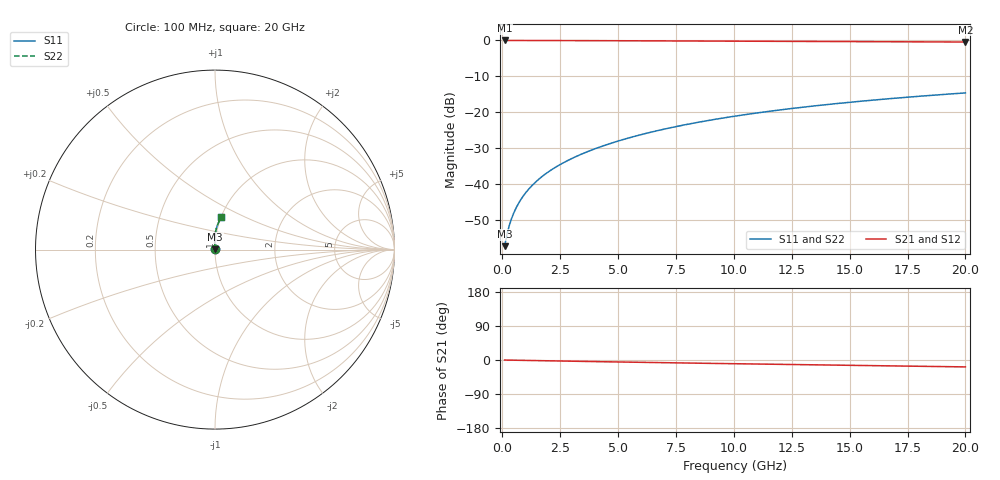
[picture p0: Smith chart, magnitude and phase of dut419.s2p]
! Touchstone file exported from HFSS 2024.1.0
!  File:  C:/UserFiles/LocalFiles/RDL_TSV_Batchsim/temp_RDL_top_419_1779675886.aedt
!  Generated:  10:27:12 AM May 25, 2026
!  Design:  RDL_top
!  Project:  temp_RDL_top_419_1779675886
!  Setup:  Setup1
!  Solution:  Sweep
! Variables:
!  dtsv = 10.80580581um
!  hbump = 3um
!  htsv = 89.05um
!  ldown = 100um
!  lrdl = 225.49um
!  p = 40
!  p1 = 56.28um
!  rhole = 1um
!  t = 450um
!  tdown = 3.915915916um
!  trdl = 3.41um
!  wdown = 15.38538539um
!  wrdl = 28.12um
# GHz S MA R 50.000000
! Terminal data exported
! Port[1] = Box2_T1
! Port[2] = Box2_T2
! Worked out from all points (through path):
!   200 points, 100 MHz to 20 GHz, reference 50 ohm
!   highest |S21| = -0.01 dB at 100 MHz (marker M1); lowest = -0.4 dB at 20 GHz (marker M2)
!   group delay of S21, straight-line fit = 2.49 ps
!   lowest |S11| = -57.3 dB at 100 MHz (marker M3), VSWR 1.00, Z = 50.1 + j0.0823 ohm
!   |S11| at or under -10 dB: start of sweep to end of sweep
!   |S22| runs from -57.3 to -14.6 dB; largest |S21 - S12| = 3.2e-15
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0.1  0.001367 36.9  0.9989 -0.1  0.9989 -0.1  0.001367 36.9
! Gamma 0 0 0 0
! Port Impedance 50 0 50 0
0.2  0.001974 54.4  0.9988 -0.2  0.9988 -0.2  0.001974 54.4
0.3  0.002639 62.9  0.9987 -0.3  0.9987 -0.3  0.002639 62.9
0.4  0.003314 68.1  0.9987 -0.4  0.9987 -0.4  0.003314 68.1
0.5  0.003994 71.7  0.9986 -0.6  0.9986 -0.6  0.003994 71.7
0.6  0.004681 74.4  0.9985 -0.7  0.9985 -0.7  0.004681 74.4
0.8  0.006076 78.3  0.9984 -0.9  0.9984 -0.9  0.006076 78.3
1.1  0.008213 81.9  0.9981 -1.2  0.9981 -1.2  0.008213 81.9
1.3  0.009663 83.6  0.9979 -1.4  0.9979 -1.4  0.009663 83.6
1.6  0.01187 85.5  0.9975 -1.7  0.9975 -1.7  0.01187 85.5
2.1  0.01564 87.6  0.9968 -2.3  0.9968 -2.3  0.01564 87.6
2.7  0.0203 89.4  0.9957 -2.9  0.9957 -2.9  0.0203 89.4
3.5  0.02678 90.8  0.9939 -3.7  0.9939 -3.7  0.02678 90.8
4.2  0.03269 91.5  0.9922 -4.4  0.9922 -4.4  0.0327 91.5
5  0.03972 91.9  0.99 -5.2  0.99 -5.2  0.03973 91.9
6.8  0.05641 91.7  0.9848 -6.9  0.9848 -6.9  0.05641 91.8
8.4  0.07194 90.8  0.9801 -8.4  0.9801 -8.4  0.07194 90.8
10.1  0.08881 89.3  0.9754 -9.9  0.9754 -9.9  0.08882 89.3
11.7  0.1048 87.7  0.971 -11.3  0.971 -11.3  0.1048 87.7
13.4  0.1218 85.9  0.9666 -12.7  0.9666 -12.7  0.1218 85.9
16.7  0.1543 82.3  0.9582 -15.5  0.9582 -15.5  0.1543 82.3
20  0.1859 78.8  0.9498 -18.2  0.9498 -18.2  0.1859 78.8
